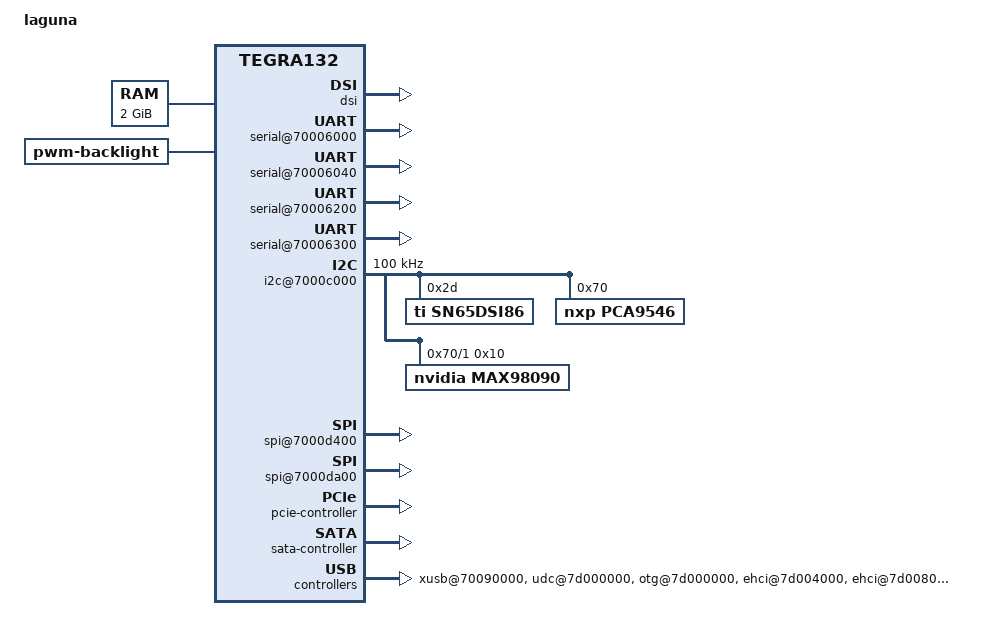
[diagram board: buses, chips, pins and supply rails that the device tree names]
/*
 * Copyright (c) 2014, NVIDIA CORPORATION.  All rights reserved.
 *
 * This program is free software; you can redistribute it and/or modify
 * it under the terms of the GNU General Public License as published by
 * the Free Software Foundation; either version 2 of the License, or
 * (at your option) any later version.
 *
 * This program is distributed in the hope that it will be useful, but WITHOUT
 * ANY WARRANTY; without even the implied warranty of MERCHANTABILITY or
 * FITNESS FOR A PARTICULAR PURPOSE.  See the GNU General Public License for
 * more details.
 *
 * You should have received a copy of the GNU General Public License along
 * with this program; if not, write to the Free Software Foundation, Inc.,
 * 51 Franklin Street, Fifth Floor, Boston, MA  02110-1301, USA.
 */

/dts-v1/;

#define TEGRA132_PACKAGE_IS_MID
#include "tegra132-soc-shield.dtsi"
#include "tegra124-platforms/tegra124-tn8-keys-e1780-1100-a02.dtsi"
#include "tegra124-platforms/tegra124-pm359-gpio-default.dtsi"
#include "tegra124-platforms/tegra124-pm359-pinmux.dtsi"
#include "panel-a-edp-1080p-14-0.dtsi"
#include "panel-a-1080p-14-0.dtsi"
#include "panel-p-wuxga-10-1.dtsi"
#include "tegra124-platforms/tegra124-laguna-hdmi-pm359-1000-a00.dtsi"
#include "tegra124-platforms/tegra124-laguna-power-tree-pm359-0000-a00.dtsi"

/ {
	model = "laguna";
	compatible = "nvidia,laguna", "nvidia,tegra132";
	nvidia,dtsfilename = __FILE__;
	#address-cells = <2>;
	#size-cells = <2>;

	aliases {
		i2c6 = &pca9546_i2c0;
		i2c7 = &pca9546_i2c1;
		i2c8 = &pca9546_i2c2;
		i2c9 = &pca9546_i2c3;
	};

	chosen {
		bootargs = "tegraid=40.0.0.00.00 vmalloc=256M video=tegrafb earlycon=uart8250,mmio32,0x70006300";
		stdout-path = &uartd;
		linux,initrd-start = <0x85000000>;
		linux,initrd-end = <0x851bc400>;
	};

	firmware {
		android {
			compatible = "android,firmware";
			hardware = "laguna";
		};
	};

	host1x {
		/* tegradc.0 */
		dc@54200000 {
			status = "okay";
			nvidia,dc-flags = <TEGRA_DC_FLAG_ENABLED>;
			nvidia,emc-clk-rate = <204000000>;
			nvidia,cmu-enable = <1>;
			nvidia,low-v-win = <0x2>;
			nvidia,fb-bpp = <32>; /* bits per pixel */
			nvidia,fb-flags = <TEGRA_FB_FLIP_ON_PROBE>;
		};
		/* tegradc.1 */
		dc@54240000 {
			status = "okay";
			nvidia,dc-flags = <TEGRA_DC_FLAG_ENABLED>;
			nvidia,emc-clk-rate = <300000000>;
			nvidia,fb-bpp = <32>; /* bits per pixel */
			nvidia,fb-flags = <TEGRA_FB_FLIP_ON_PROBE>;
		};
		dsi {
			nvidia,dsi-controller-vs = <1>;
			status = "okay";
			panel-a-1080p-14-0 {
				nvidia,dsi-edp-bridge = <TEGRA_DSI_ENABLE>;
				nvidia,panel-rst-gpio = <&gpio TEGRA_GPIO(H, 3) 0>; /* PH3 */
				nvidia,panel-bl-pwm-gpio = <&gpio TEGRA_GPIO(H, 1) 0>; /* PH1 */
				nvidia,panel-bridge-en-0-gpio = <&gpio TEGRA_GPIO(I, 0) 0>; /* PI0 */
				nvidia,panel-bridge-refclk-en-gpio = <&gpio TEGRA_GPIO(G, 4) 0>; /* PG4 */
			};
                        panel-p-wuxga-10-1 {
				nvidia,dsi-dpd-pads = <DSIC_DPD_EN DSID_DPD_EN>;
                                nvidia,panel-rst-gpio = <&gpio TEGRA_GPIO(H, 3) 0>; /* PH3 */
                                nvidia,panel-bl-pwm-gpio = <&gpio TEGRA_GPIO(H, 1) 0>; /* PH1 */
                        };
		};
		sor {
			status = "okay";
			nvidia,hpd-gpio = <&gpio 248 0>; /*PFF0*/
			panel-a-edp-1080p-14-0 {
				nvidia,panel-bl-pwm-gpio = <&gpio TEGRA_GPIO(H, 1) 0>; /* PH1 */
			};
		};
		dpaux {
			status = "okay";
		};
	};
	serial@70006000 {
		compatible = "nvidia,tegra114-hsuart";
		status = "okay";
        };

	serial@70006040 {
		compatible = "nvidia,tegra114-hsuart";
		status = "okay";
	};

	serial@70006200 {
		compatible = "nvidia,tegra114-hsuart";
		status = "okay";
	};

	serial@70006300 {
		compatible = "nvidia,tegra20-uart", "nvidia,tegra114-hsuart";
		console-port;
		sqa-automation-port;
		status = "okay";
	};

	i2c@7000c000 {
		clock-frequency = <100000>;
		sn65dsi86@2d {
			compatible = "ti,sn65dsi86";
			reg = <0x2d>;
			status = "okay";
		};
		pca9546@70 {
			compatible = "nxp,pca9546";
			reg = <0x70>;
			#address-cells = <1>;
			#size-cells = <0>;
			pca9546_i2c0: i2c@0 {
				reg = <0>;
				i2c-mux,deselect-on-exit;
				#address-cells = <1>;
				#size-cells = <0>;
			};
			pca9546_i2c1: i2c@1 {
				reg = <1>;
				i2c-mux,deselect-on-exit;
				#address-cells = <1>;
				#size-cells = <0>;

				max98090@10 {
					compatible = "nvidia,max98090";
					reg = <0x10>;
					maxim,audio-int = <237>;
					maxim,digmic-left-mode = <1>;
					maxim,digmic-right-mode = <1>;
				};
			};
			pca9546_i2c2: i2c@2 {
				reg = <2>;
				i2c-mux,deselect-on-exit;
				#address-cells = <1>;
				#size-cells = <0>;
			};
			pca9546_i2c3: i2c@3 {
				reg = <3>;
				i2c-mux,deselect-on-exit;
				#address-cells = <1>;
				#size-cells = <0>;
			};
		};
	};

	i2c@7000d000 {
		nvidia,bit-banging-xfer-after-shutdown;
	};

	memory@0x80000000 {
		device_type = "memory";
		reg = <0x0 0x80000000 0x0 0x80000000>;
	};

	spi@7000d400 {
		status = "okay";
		spi-max-frequency = <25000000>;
	};

	spi@7000da00 {
		status = "okay";
		spi-max-frequency = <25000000>;
	};

	pmc@7000e400 {
		status = "okay";
		nvidia,invert-interrupt;
		nvidia,suspend-mode = <0>;
		nvidia,cpu-pwr-good-time = <2000>;
		nvidia,cpu-pwr-off-time = <2000>;
		nvidia,core-pwr-good-time = <3845 3845>;
		nvidia,core-pwr-off-time = <2000>;
		nvidia,core-power-req-active-high;
		nvidia,sys-clock-req-active-high;
	};

	pcie-controller {
		nvidia,hot-plug-gpio = <&gpio TEGRA_GPIO(O, 1) 0>;
		nvidia,wake-gpio = <&gpio TEGRA_GPIO(DD, 3) 0>;
		nvidia,x1-slot-gpio = <&tca6416 8 0>;
		nvidia,lane-map = <0x14>;
		status = "okay";

		pci@1,0 {
			nvidia,disable-clock-request;
			status = "okay";
		};

		pci@2,0 {
			nvidia,disable-clock-request;
			status = "okay";
		};
	};

	sata-controller {
		nvidia,pexp-gpio = <&tca6416 9 0>;
		status = "okay";
	};

        xusb@70090000 {
		/* nvidia,uses_external_pmic; */
		nvidia,gpio_controls_muxed_ss_lanes;
		nvidia,gpio_ss1_sata = <&tca6416 9 0>;
		nvidia,portmap = <0x703>; /* SSP0,SSP1, USB2P0, USB2P1, USB2P2 */
		nvidia,ss_portmap = /bits/ 8 <0x12>; /* SSP0 on USB2P2 and SSP1 on USP2P1 */
		nvidia,lane_owner = /bits/ 8 <5>; /* USB3P0 USB3S0 and PCIe_X4 */
		nvidia,ulpicap = /bits/ 8 <0>; /* No ulpi support. can we remove */
		status = "okay";
	};

	udc@7d000000 {
		nvidia,port-otg;
		nvidia,charging-supported;
		nvidia,id-detection-type = <1>;
		#extcon-cells = <1>;
		status = "okay";
		nvidia,id-detection-type=<1>;
	};

	otg@7d000000 {
		nvidia,id-detection-type = <1>;
		extcon-cables = <&adc_extcon 0>;
		extcon-cable-names = "id";
		#extcon-cells = <1>;
		status = "okay";
		ehci1: ehci {
			nvidia,enable-pmu-vbus-detection;
			nvidia,id-detection-type=<1>;
		};
	};

	psy_extcon {
		compatible = "power-supply-extcon";
		status = "disabled";
		extcon-cables = <&udc 1 &udc 2 &udc 3
				&udc 4 &udc 5 &udc 6
				&udc 7 &udc 8 &udc 9
				&udc 10 &otg 0>;
		extcon-cable-names = "usb-charger", "ta-charger", "maxim-charger",
				"qc2-charger", "downstream-charger","fast-charger",
				"slow-charger", "apple-500ma", "apple-1a",
				"apple-2a", "y-cable";
	};

	dfll@70040084 {
		board-params = <&{/cpu_dfll_board_params}>;
		i2c-pmic-integration = <&{/cpu_dfll_pmic_integration}>;
		monitor-data-new-workaround;
		status = "okay";
	};

	cpu_dfll_board_params {
		sample-rate = <12500>;
		fixed-output-forcing;
		cf = <10>;
		ci = <0>;
		cg = <2>;
		droop-cut-value = <0xf>;
		droop-restore-ramp = <0x0>;
		scale-out-ramp = <0x0>;
	};

	cpu_dfll_pmic_integration {
		pmic-i2c-address = <0x80>;
		pmic-i2c-voltage-register = <0x00>;
		i2c-fs-rate = <400000>;
		sel-conversion-slope = <1>;
	};

	ehci@7d004000 {
		avdd_usb-supply = <&as3722_gpio2_supply>;
		avdd_pll_utmip-supply = <&reg_1v8_supply>;
		usb_vbus-supply = <&usb1_usb2_vbus>;
		vddio_hsic-supply = <&as3722_ldo2>;
		status = "okay";
	};

	ehci@7d008000 {
		avdd_usb-supply = <&as3722_gpio2_supply>;
		avdd_pll_utmip-supply = <&reg_1v8_supply>;
		usb_vbus-supply = <&usb1_usb2_vbus>;
		status = "okay";
	};

	backlight {
		compatible = "pwm-backlight";
		status = "okay";
	};

	tegra-snd-max98090 {
		compatible = "nvidia,tegra-snd-max98090";
		nvidia,name = "tegra-snd-max98090";
		nvidia,id = <0>;
		nvidia,codec-name = "max98090.7-0010";
		nvidia,codec-dai-name = "HiFi";
		nvidia,num-links = <1>;
		nvidia,edp-support;
		nvidia,edp-states = <1080 842 0>;
		nvidia,i2s-param,0,audio-port-id	= <1>;
		nvidia,i2s-param,0,is-i2s-master	= <1>;
		nvidia,i2s-param,0,i2s-mode		= <0>;
		nvidia,i2s-param,0,sample-size		= <16>;
		nvidia,i2s-param,0,channels		= <2>;
		nvidia,i2s-param,0,bit-clk		= <1536000>;
		};
};
